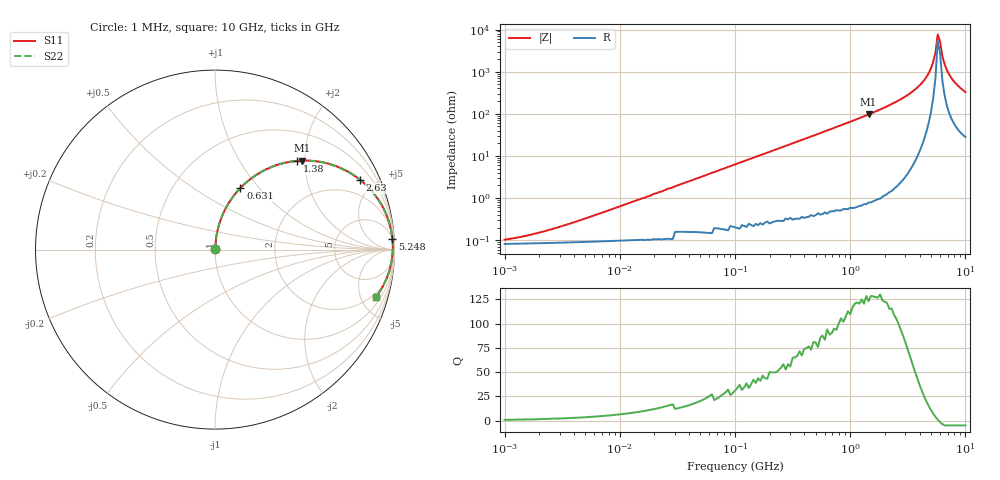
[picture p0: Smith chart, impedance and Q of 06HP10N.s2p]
# MHz S MA R 50
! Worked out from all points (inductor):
!   201 points, 1 MHz to 10 GHz, reference 50 ohm
!   read as one part in series: L = 10 nH near 4.365 MHz
!   highest Q = 128 at 1.445 GHz (marker M1), where L = 10.6 nH
!   self-resonance near 5.754 GHz
!   S11 on the Smith chart (normalised r, x): 1 MHz: 1.00, +0.00; 631 MHz: 1.01, +0.80; 1.38 GHz: 1.01, +1.84; 2.63 GHz: 1.04, +4.14; 5.248 GHz: 6, +33; 10 GHz: 1.57, -6.52
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1  0.0008935 44.6  0.999 -0.0  0.999 -0.0  0.0008935 44.6
4.786  0.003115 74.6  0.999 -0.2  0.999 -0.2  0.003115 74.6
21.878  0.014 84.2  0.999 -0.8  0.999 -0.8  0.014 84.2
104.713  0.066 84.4  0.996 -3.8  0.996 -3.8  0.066 84.4
229.087  0.142 80.7  0.987 -8.2  0.987 -8.2  0.142 80.7
478.63  0.289 72.5  0.954 -16.8  0.954 -16.8  0.289 72.5
630.957  0.371 67.6  0.925 -21.8  0.925 -21.8  0.371 67.6
1380.384  0.674 47.2  0.734 -42.4  0.734 -42.4  0.674 47.2
1445.44  0.692 45.7  0.716 -43.8  0.716 -43.8  0.692 45.7
2187.762  0.844 31.9  0.528 -57.6  0.528 -57.6  0.844 31.9
2630.268  0.897 25.7  0.433 -63.8  0.433 -63.8  0.897 25.7
3467.369  0.954 16.5  0.284 -72.5  0.284 -72.5  0.954 16.5
4168.694  0.977 10.6  0.184 -77.6  0.184 -77.6  0.977 10.6
4786.301  0.987 6.2  0.109 -80.1  0.109 -80.1  0.987 6.2
5248.075  0.99 3.4  0.059 -78.8  0.059 -78.8  0.99 3.4
5495.409  0.991 1.9  0.035 -73.7  0.035 -73.7  0.991 1.9
5754.399  0.991 0.5  0.013 -43.9  0.013 -43.9  0.991 0.5
6025.596  0.99 -0.9  0.019 56.0  0.019 56.0  0.99 -0.9
6309.573  0.988 -2.3  0.042 72.5  0.042 72.5  0.988 -2.3
6918.31  0.983 -5.1  0.091 76.7  0.091 76.7  0.983 -5.1
7943.282  0.97 -9.4  0.164 74.9  0.164 74.9  0.97 -9.4
10000  0.934 -16.5  0.285 68.5  0.285 68.5  0.934 -16.5
